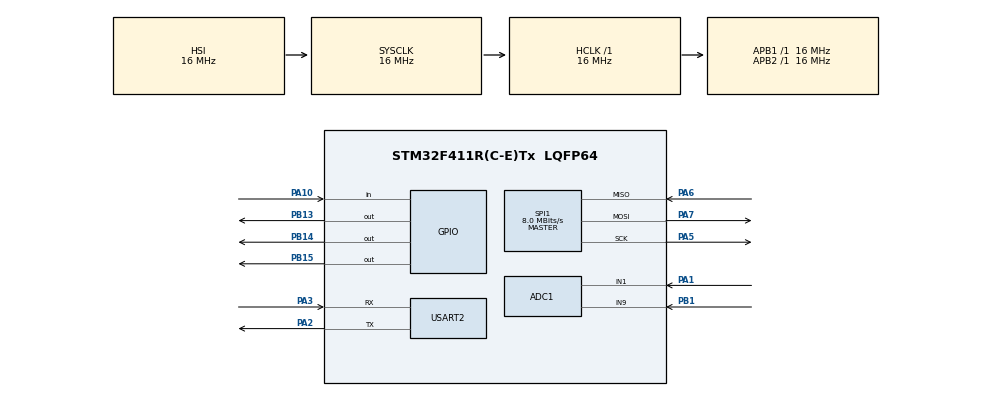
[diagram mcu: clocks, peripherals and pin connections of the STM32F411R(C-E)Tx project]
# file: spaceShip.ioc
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ADC1.Channel-0\#ChannelRegularConversion=ADC_CHANNEL_1
ADC1.NbrOfConversionFlag=1
ADC1.Rank-0\#ChannelRegularConversion=1
ADC1.SamplingTime-0\#ChannelRegularConversion=ADC_SAMPLETIME_3CYCLES
ADC1.master=1
Mcu.Family=STM32F4
Mcu.Name=STM32F411R(C-E)Tx
Mcu.Package=LQFP64
NVIC.PriorityGroup=NVIC_PRIORITYGROUP_4
PA1.Signal=ADCx_IN1
PA10.GPIO_PuPd=GPIO_PULLUP
PA10.Signal=GPIO_Input
PA2.Mode=Asynchronous
PA2.Signal=USART2_TX
PA3.Mode=Asynchronous
PA3.Signal=USART2_RX
PA5.Mode=Full_Duplex_Master
PA5.Signal=SPI1_SCK
PA6.Mode=Full_Duplex_Master
PA6.Signal=SPI1_MISO
PA7.Mode=Full_Duplex_Master
PA7.Signal=SPI1_MOSI
PB1.Signal=ADCx_IN9
PB13.Signal=GPIO_Output
PB14.Signal=GPIO_Output
PB15.Signal=GPIO_Output
ProjectManager.HeapSize=0x200
ProjectManager.StackSize=0x400
ProjectManager.TargetToolchain=STM32CubeIDE
RCC.AHBFreq_Value=16000000
RCC.APB1Freq_Value=16000000
RCC.APB2Freq_Value=16000000
RCC.CortexFreq_Value=16000000
RCC.HSE_VALUE=25000000
RCC.HSI_VALUE=16000000
RCC.LSE_VALUE=32768
RCC.SYSCLKFreq_VALUE=16000000
RCC.VCOOutputFreq_Value=192000000
SH.ADCx_IN1.0=ADC1_IN1,IN1
SH.ADCx_IN9.0=ADC1_IN9,IN9
SPI1.CalculateBaudRate=8.0 MBits/s
SPI1.Direction=SPI_DIRECTION_2LINES
SPI1.Mode=SPI_MODE_MASTER
SPI1.VirtualType=VM_MASTER
USART2.VirtualMode=VM_ASYNC
board=custom

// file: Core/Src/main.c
/* USER CODE BEGIN Header */
/**
  ******************************************************************************
  * @file           : main.c
  * @brief          : Main program body
  ******************************************************************************
  * @attention
  *
  * Copyright (c) 2026 STMicroelectronics.
  * All rights reserved.
  *
  * This software is licensed under terms that can be found in the LICENSE file
  * in the root directory of this software component.
  * If no LICENSE file comes with this software, it is provided AS-IS.
  *
  ******************************************************************************
  */
/* USER CODE END Header */
#include "main.h"
/* USER CODE BEGIN Includes */
#include <stdio.h>
#include <stdint.h>
#include <stdlib.h>
#include "fonts.h"
/* USER CODE END Includes */

/* USER CODE BEGIN PTD */
#define LCD_WIDTH   80
#define LCD_HEIGHT  260
#define X_OFFSET    1
#define Y_OFFSET    26

#define ST7735_CS_GPIO_Port  GPIOB
#define ST7735_CS_Pin        GPIO_PIN_14
#define ST7735_DC_GPIO_Port  GPIOB
#define ST7735_DC_Pin        GPIO_PIN_13
#define ST7735_RES_GPIO_Port GPIOB
#define ST7735_RES_Pin       GPIO_PIN_15
/* USER CODE END PTD */

ADC_HandleTypeDef hadc1;

SPI_HandleTypeDef hspi1;

UART_HandleTypeDef huart2;

void SystemClock_Config(void);
static void MX_GPIO_Init(void);
static void MX_ADC1_Init(void);
static void MX_SPI1_Init(void);
static void MX_USART2_UART_Init(void);
/* USER CODE BEGIN PFP */
struct Node {
    int x;
    int y;
    struct Node* next;
};
struct Node *starList = NULL;
int score = 0;
int Delay = 300;
uint8_t starsize = 5;
uint32_t adc_raw_val = 0;
float joystick_x = 0.0;
float alpha = 0.15;
int deadzone = 8;
void LCD_Init(void);
void Lcdclose(void);
void LcdOpen(void);
void LCD_DataMode(uint8_t pin);
void LCD_CommandMode(uint8_t data);
void freeLinkedList(struct Node* head);
void LCD_Fill(uint16_t color);
void LCD_SetAddressWindow(uint16_t x0, uint16_t y0, uint16_t x1, uint16_t y1);
void DrawPixel(uint16_t x, uint16_t y, uint16_t color);
void DrawChar(uint16_t x, uint16_t y, char ch, sFONT font, uint16_t color ,uint16_t bgcolor);
void DrawString(uint16_t x, uint16_t y,  char* str, sFONT font, uint16_t color,uint16_t bgcolor);
void LCD_courser(uint8_t x, uint8_t y, uint16_t color);
uint16_t GAMEON =0;
void movingStars(void);
void EraseArea(uint16_t x, uint16_t y);
struct Node* createStar( uint32_t startrandomX, uint32_t endrandomX);
void PrintStars(struct Node *head,uint8_t x, uint8_t y);
struct Node* moveStar(struct Node *head);

/* USER CODE END PFP */

int main(void)
{

  /* MCU Configuration--------------------------------------------------------*/

  /* Reset of all peripherals, Initializes the Flash interface and the Systick. */
  HAL_Init();

  /* Configure the system clock */
  SystemClock_Config();

  /* Initialize all configured peripherals */
  MX_GPIO_Init();
  MX_ADC1_Init();
  MX_SPI1_Init();
  LCD_Init();
  MX_USART2_UART_Init();
  LCD_Fill(0x0010);

  uint32_t x_raw = 2048;
  uint32_t y_raw = 2048;
  int old_x = 40;
  int old_y = 90;
  int x_center_offset = 2150;
   int y_center_offset = 1900;
   int deadzone =10;
   uint32_t lastGameUpdateTime = 0;

  /* Infinite loop */
  /* USER CODE BEGIN WHILE */
  while (1)
  {
	  char scoreBuf[10];
	 sprintf(scoreBuf, "%d", score);
	      uint32_t x_sum = 0, y_sum = 0;
	      int samples = 8;

	      for(int i = 0; i < samples; i++) {
	          HAL_ADC_Start(&hadc1);
	          HAL_ADC_PollForConversion(&hadc1, 5);
	          x_sum += HAL_ADC_GetValue(&hadc1);
	          HAL_ADC_PollForConversion(&hadc1, 5);
	          y_sum += HAL_ADC_GetValue(&hadc1);
	      }

	      x_raw = x_sum / samples;
	      y_raw = y_sum / samples;

	      int x_relative = (int)x_raw - x_center_offset;
	      int y_relative = (int)y_raw - y_center_offset;

	      if (abs(x_relative) < deadzone) x_relative = 0;
	      if (abs(y_relative) < deadzone) y_relative = 0;

	      int new_x = 70 + (x_relative * 70) / 2048;
	      int new_y = 70 + (y_relative * 70) / 2048;

	      if (new_x != old_x || new_y != old_y) {
	          LCD_courser(old_x, old_y, 0x0010);
	          LCD_courser(new_x, new_y, 0xFF00);
	          old_x = new_x;
	          old_y = new_y;
	      }

	      struct Node *head= moveStar(starList);
	      if (GAMEON == 0) {
	          DrawString(60, 5, "press C to start", Font12, 0xFFFF, 0x0010);
	      } else {

	    	  PrintStars(head,new_x, new_y);
	    	  score += 1;
	    	  DrawString(90, 35, scoreBuf, Font8, 0xFFFF, 0x0011);
	          if (HAL_GetTick() - lastGameUpdateTime >= Delay) {
	              Delay -= 1;
	              movingStars();
	              lastGameUpdateTime = HAL_GetTick();
	          }
	      }

	      if (GAMEON == 2) {
	     		  freeLinkedList(head);
	     		      starList = NULL;

	     		       Delay = 300;
	     		       GAMEON = 0;
	     		       LCD_Fill(0x0010);
	     		       DrawString(60, 5, "GAME OVER", Font12, 0xFFFF, 0x0010);
	     		       DrawString(50, 5, "score", Font12, 0xFFFF, 0x0010);
	     		       DrawString(50, 55, scoreBuf, Font12, 0xFFFF, 0x0011);
	     		       lastGameUpdateTime = HAL_GetTick();
	     		       score = 0;
	     		       HAL_Delay(700);
	     		       LCD_Fill(0x0010);
	     		      }

	      if(HAL_GPIO_ReadPin(GPIOA, GPIO_PIN_10) == GPIO_PIN_RESET) {
	          GAMEON = 1;
	          LCD_Fill(0x0010);
	          DrawString(90, 5, "score", Font8, 0xFFFF, 0x0010);
	          lastGameUpdateTime = HAL_GetTick();
	      }

  }
  /* USER CODE END 3 */
}

void SystemClock_Config(void)
{
  RCC_OscInitTypeDef RCC_OscInitStruct = {0};
  RCC_ClkInitTypeDef RCC_ClkInitStruct = {0};

  /** Configure the main internal regulator output voltage
  */
  __HAL_RCC_PWR_CLK_ENABLE();
  __HAL_PWR_VOLTAGESCALING_CONFIG(PWR_REGULATOR_VOLTAGE_SCALE1);

  /** Initializes the RCC Oscillators according to the specified parameters
  * in the RCC_OscInitTypeDef structure.
  */
  RCC_OscInitStruct.OscillatorType = RCC_OSCILLATORTYPE_HSI;
  RCC_OscInitStruct.HSIState = RCC_HSI_ON;
  RCC_OscInitStruct.HSICalibrationValue = RCC_HSICALIBRATION_DEFAULT;
  RCC_OscInitStruct.PLL.PLLState = RCC_PLL_NONE;
  if (HAL_RCC_OscConfig(&RCC_OscInitStruct) != HAL_OK)
  {
    Error_Handler();
  }

  /** Initializes the CPU, AHB and APB buses clocks
  */
  RCC_ClkInitStruct.ClockType = RCC_CLOCKTYPE_HCLK|RCC_CLOCKTYPE_SYSCLK
                              |RCC_CLOCKTYPE_PCLK1|RCC_CLOCKTYPE_PCLK2;
  RCC_ClkInitStruct.SYSCLKSource = RCC_SYSCLKSOURCE_HSI;
  RCC_ClkInitStruct.AHBCLKDivider = RCC_SYSCLK_DIV1;
  RCC_ClkInitStruct.APB1CLKDivider = RCC_HCLK_DIV1;
  RCC_ClkInitStruct.APB2CLKDivider = RCC_HCLK_DIV1;

  if (HAL_RCC_ClockConfig(&RCC_ClkInitStruct, FLASH_LATENCY_0) != HAL_OK)
  {
    Error_Handler();
  }
}

static void MX_ADC1_Init(void)
{

  ADC_ChannelConfTypeDef sConfig = {0};

  /** Configure the global features of the ADC (Clock, Resolution, Data Alignment and number of conversion)
  */
  hadc1.Instance = ADC1;
  hadc1.Init.ClockPrescaler = ADC_CLOCK_SYNC_PCLK_DIV2;
  hadc1.Init.Resolution = ADC_RESOLUTION_12B;
  hadc1.Init.ScanConvMode = ENABLE;
  hadc1.Init.ContinuousConvMode = DISABLE;
  hadc1.Init.DiscontinuousConvMode = DISABLE;
  hadc1.Init.ExternalTrigConvEdge = ADC_EXTERNALTRIGCONVEDGE_NONE;
  hadc1.Init.ExternalTrigConv = ADC_SOFTWARE_START;
  hadc1.Init.DataAlign = ADC_DATAALIGN_RIGHT;
  hadc1.Init.NbrOfConversion = 2;
  hadc1.Init.DMAContinuousRequests = DISABLE;
  hadc1.Init.EOCSelection = ADC_EOC_SINGLE_CONV;
  if (HAL_ADC_Init(&hadc1) != HAL_OK)
  {
    Error_Handler();
  }

  /** Configure for the selected ADC regular channel its corresponding rank in the sequencer and its sample time.
  */

    /** Configure for the first channel (X-axis on PA1)
    */
    sConfig.Channel = ADC_CHANNEL_1;
    sConfig.Rank = 1;
    sConfig.SamplingTime = ADC_SAMPLETIME_144CYCLES;
    if (HAL_ADC_ConfigChannel(&hadc1, &sConfig) != HAL_OK)
    {
      Error_Handler();
    }

    /** Configure for the second channel (Y-axis on PB1)
    */
    sConfig.Channel = ADC_CHANNEL_9;
    sConfig.Rank = 2;
    sConfig.SamplingTime = ADC_SAMPLETIME_144CYCLES;
    if (HAL_ADC_ConfigChannel(&hadc1, &sConfig) != HAL_OK)
    {
      Error_Handler();
    }

}

static void MX_SPI1_Init(void)
{

  /* SPI1 parameter configuration*/
  hspi1.Instance = SPI1;
  hspi1.Init.Mode = SPI_MODE_MASTER;
  hspi1.Init.Direction = SPI_DIRECTION_2LINES;
  hspi1.Init.DataSize = SPI_DATASIZE_8BIT;
  hspi1.Init.CLKPolarity = SPI_POLARITY_LOW;
  hspi1.Init.CLKPhase = SPI_PHASE_1EDGE;
  hspi1.Init.NSS = SPI_NSS_SOFT;
  hspi1.Init.BaudRatePrescaler = SPI_BAUDRATEPRESCALER_2;
  hspi1.Init.FirstBit = SPI_FIRSTBIT_MSB;
  hspi1.Init.TIMode = SPI_TIMODE_DISABLE;
  hspi1.Init.CRCCalculation = SPI_CRCCALCULATION_DISABLE;
  hspi1.Init.CRCPolynomial = 10;
  if (HAL_SPI_Init(&hspi1) != HAL_OK)
  {
    Error_Handler();
  }

}

static void MX_USART2_UART_Init(void)
{

  huart2.Instance = USART2;
  huart2.Init.BaudRate = 115200;
  huart2.Init.WordLength = UART_WORDLENGTH_8B;
  huart2.Init.StopBits = UART_STOPBITS_1;
  huart2.Init.Parity = UART_PARITY_NONE;
  huart2.Init.Mode = UART_MODE_TX_RX;
  huart2.Init.HwFlowCtl = UART_HWCONTROL_NONE;
  huart2.Init.OverSampling = UART_OVERSAMPLING_16;
  if (HAL_UART_Init(&huart2) != HAL_OK)
  {
    Error_Handler();
  }

}

static void MX_GPIO_Init(void)
{
  GPIO_InitTypeDef GPIO_InitStruct = {0};

  /* GPIO Ports Clock Enable */
  __HAL_RCC_GPIOA_CLK_ENABLE();
  __HAL_RCC_GPIOB_CLK_ENABLE();

  /*Configure GPIO pin Output Level */
  HAL_GPIO_WritePin(GPIOB, GPIO_PIN_13|GPIO_PIN_14|GPIO_PIN_15, GPIO_PIN_RESET);

  /*Configure GPIO pins : PB13 PB14 PB15 */
  GPIO_InitStruct.Pin = GPIO_PIN_13|GPIO_PIN_14|GPIO_PIN_15;
  GPIO_InitStruct.Mode = GPIO_MODE_OUTPUT_PP;
  GPIO_InitStruct.Pull = GPIO_NOPULL;
  GPIO_InitStruct.Speed = GPIO_SPEED_FREQ_LOW;
  HAL_GPIO_Init(GPIOB, &GPIO_InitStruct);

  /*Configure GPIO pin : PA10 */
  GPIO_InitStruct.Pin = GPIO_PIN_10;
  GPIO_InitStruct.Mode = GPIO_MODE_INPUT;
  GPIO_InitStruct.Pull = GPIO_PULLUP;
  HAL_GPIO_Init(GPIOA, &GPIO_InitStruct);

}

/* USER CODE BEGIN 4 */

#ifdef __GNUC__
  /* With GCC, small printf (option LD Linker->Libraries->Small printf
     set to 'Yes') calls __io_putchar() */
  #define PUTCHAR_PROTOTYPE int __io_putchar(int ch)
#else
  #define PUTCHAR_PROTOTYPE int fputc(int ch, FILE *f)
#endif /* __GNUC__ */

/**
  * @brief  Retargets the C library printf function to the USART.
  */
PUTCHAR_PROTOTYPE
{
  /* Place your implementation of fputc here */
  /* e.g. write a character to the USART2 and Loop until the end of transmission */
  HAL_UART_Transmit(&huart2, (uint8_t *)&ch, 1, 0xFFFF);

  return ch;
}

// Also add this for newer GCC versions to handle the full write stream
int _write(int file, char *ptr, int len)
{
  HAL_UART_Transmit(&huart2, (uint8_t *)ptr, len, 0xFFFF);
  return len;
}
void LcdOpen(void){
	HAL_GPIO_WritePin(GPIOB, GPIO_PIN_14, GPIO_PIN_RESET);
}
void Lcdclose(void){
	HAL_GPIO_WritePin(GPIOB, GPIO_PIN_14, GPIO_PIN_SET);
}

void LCD_Init(void) {//GEMINI
    HAL_GPIO_WritePin(GPIOB, GPIO_PIN_15, GPIO_PIN_RESET);
    HAL_Delay(50);
    HAL_GPIO_WritePin(GPIOB, GPIO_PIN_15, GPIO_PIN_SET);
    HAL_Delay(150);

    LCD_CommandMode(0x01); // Reset
    HAL_Delay(150);
    LCD_CommandMode(0x11); // Wake
    HAL_Delay(200);
    LCD_CommandMode(0x3A); // Color mode
    LCD_DataMode(0x05);    // 16-bit
    LCD_CommandMode(0x21);

    LCD_CommandMode(0x29); // On
    HAL_Delay(100);
}

void LCD_CommandMode(uint8_t data) {
    HAL_GPIO_WritePin(GPIOB, GPIO_PIN_13, GPIO_PIN_RESET);// command
    LcdOpen();
    HAL_SPI_Transmit(&hspi1, &data, 1, HAL_MAX_DELAY);
    Lcdclose();
}

void LCD_DataMode(uint8_t pin) {
   HAL_GPIO_WritePin(GPIOB, GPIO_PIN_13, GPIO_PIN_SET);//color
   LcdOpen();
   HAL_SPI_Transmit(&hspi1, &pin, 1, HAL_MAX_DELAY);
   Lcdclose();
}

void LCD_Fill(uint16_t color) {
    LCD_CommandMode(0x2A);
    LCD_DataMode(0x00); LCD_DataMode(0x00); LCD_DataMode(0x00); LCD_DataMode(0x7F);
    LCD_CommandMode(0x2B);
    LCD_DataMode(0x00); LCD_DataMode(0x00); LCD_DataMode(0x00); LCD_DataMode(0x9F);
    LCD_CommandMode(0x2C);

    uint8_t data[] = {color & 0xFF, color >> 8};
    HAL_GPIO_WritePin(GPIOB, GPIO_PIN_13, GPIO_PIN_SET);
    LcdOpen();
    for (uint32_t i = 0; i < (LCD_WIDTH * LCD_HEIGHT); i++) {
        HAL_SPI_Transmit(&hspi1, data, 2, HAL_MAX_DELAY);
    }
    Lcdclose();
}

void LCD_SetAddressWindow(uint16_t x0, uint16_t y0, uint16_t x1, uint16_t y1){
	 LCD_CommandMode(0x2A);
	 uint8_t dataX[] ={ 0x00, x0 + 1, 0x00, x1 + 1 };
	 for(int i=0; i<4; i++){

		 LCD_DataMode(dataX[i]);

	 }
	 LCD_CommandMode(0x2B);
	 uint8_t dataY[] ={ 0x00, y0 + 1, 0x00, y1 + 1 };
	 for(int i=0; i<4; i++){

		 LCD_DataMode(dataY[i]);

	 }
	 LCD_CommandMode(0x2C);
}

void DrawPixel(uint16_t x, uint16_t y, uint16_t color){
	   LCD_SetAddressWindow(x, y, x, y);
	   uint8_t data[] = {color & 0xFF, color >> 8};
	      LCD_DataMode(data[0]);
	      LCD_DataMode(data[1]);

}

void DrawChar(uint16_t x, uint16_t y, char ch, sFONT font, uint16_t color ,uint16_t bgcolor) {
    uint16_t bytesPerRow = (font.Width + 7) / 8;
    uint16_t JumpDistance = bytesPerRow * font.Height;
    uint32_t charLocation = (ch - 32) * JumpDistance;

    for(int i = 0; i < font.Height; i++) {
        for(int j = 0; j < font.Width; j++) {

            uint8_t byte = font.table[charLocation + (i * bytesPerRow) + (j / 8)];

            if (byte & (0x80 >> (j % 8))) {

                DrawPixel(x + (font.Height - 1 - i), y + j, color);
            } else{
            	DrawPixel(x + (font.Height - 1 - i), y + j, bgcolor);
            }
        }
    }
}

void DrawString(uint16_t x, uint16_t y, char* str, sFONT font, uint16_t color,uint16_t bgcolor) {

    while(*str) {
        DrawChar(x, y, *str, font, color,bgcolor);
        y += font.Width;
        str++;
    }
}

void movingStars(){

	if ((rand() % 10) == 0) {
	        struct Node *newStar = createStar(rand() % 85, 0);
	        if (newStar != NULL) {
	            newStar->next = starList;
	            starList = newStar;
	        }
	    }

	}

struct Node* createStar( uint32_t startrandomX, uint32_t endrandomX){

	 struct Node *newNode = (struct Node *)malloc(sizeof(struct Node));
	 if (newNode == NULL) return NULL;
			 newNode->y =0;
			 newNode->x =startrandomX;;
			 newNode->next = NULL;
			 return newNode;
}

struct Node* moveStar(struct Node *head){
	struct Node *temp = head;
	while (temp != NULL){
		temp->y += 5;
		temp = temp->next;
	}
	return head;

}

void PrintStars(struct Node *head,uint8_t x, uint8_t y){

	uint8_t data[] = { (uint8_t)(0xFFFF >> 8), (uint8_t)(0xFF & 0xFF) };
	struct Node *temp = head;

	while(temp != NULL){
        int offset = 4;
        if(temp->y == 250){temp->y=0;}
        if(temp->y == 0){temp->x=(rand() % 85);}
		EraseArea(temp->x, temp->y);
	    // Set Column Address
	    LCD_CommandMode(0x2A);
	    LCD_DataMode(0x00); LCD_DataMode(temp->x);
	    LCD_DataMode(0x00); LCD_DataMode((temp->x)+starsize-1);

	    // Set Row Address
	    LCD_CommandMode(0x2B);
	    LCD_DataMode(0x00); LCD_DataMode(temp->y);
	    LCD_DataMode(0x00); LCD_DataMode((temp->y)+starsize-1);

	    LCD_CommandMode(0x2C); // RAM Write

	    HAL_GPIO_WritePin(GPIOB, GPIO_PIN_13, GPIO_PIN_SET);
	    LcdOpen();
	    for(int i = 0; i < (starsize * starsize); i++) {
	        HAL_SPI_Transmit(&hspi1, data, 2, HAL_MAX_DELAY);
	    }
	    Lcdclose();
	    if (x < temp->x + starsize+offset &&
	                x + starsize+offset > temp->x &&
	                y < temp->y + starsize+offset &&
	                y + starsize+offset > temp->y) {

	                GAMEON = 2;
	                return;
	            }
	    temp = temp->next;
	}

}

void EraseArea(uint16_t x, uint16_t y){

	uint8_t data[] = { 0x10, 0x00 };
	// Set Column Address
	    LCD_CommandMode(0x2A);
	    LCD_DataMode(0x00); LCD_DataMode(x );
	    LCD_DataMode(0x00); LCD_DataMode((x + starsize - 1));

	    // Set Row Address
	    LCD_CommandMode(0x2B);
	    LCD_DataMode(0x00); LCD_DataMode(y-6);
	    LCD_DataMode(0x00); LCD_DataMode((y + starsize - 6) );

	    LCD_CommandMode(0x2C); // RAM Write

	    HAL_GPIO_WritePin(GPIOB, GPIO_PIN_13, GPIO_PIN_SET);
	    LcdOpen();
	    for(int i = 0; i < (starsize * starsize); i++) {
	        HAL_SPI_Transmit(&hspi1, data, 2, HAL_MAX_DELAY);
	    }
	    Lcdclose();

}

void LCD_courser(uint8_t x, uint8_t y, uint16_t color) {
    uint16_t size = starsize;
    uint8_t data[] = {color & 0xFF, color >> 8};

    if (x > 80 ) x = 80;
    if ( x < 30) x = 30;
    if (y > 250) y = 250;

    LCD_CommandMode(0x2A);
    LCD_DataMode(0x00); LCD_DataMode(x);
    LCD_DataMode(0x00); LCD_DataMode(x + size - 1);

    LCD_CommandMode(0x2B);
    LCD_DataMode(0x00); LCD_DataMode(y);
    LCD_DataMode(0x00); LCD_DataMode(y + size - 1);

    LCD_CommandMode(0x2C);

    HAL_GPIO_WritePin(GPIOB, GPIO_PIN_13, GPIO_PIN_SET);
    LcdOpen();
    for(int i = 0; i < (size * size); i++) {
        HAL_SPI_Transmit(&hspi1, data, 2, HAL_MAX_DELAY);
    }
    Lcdclose();
}

void freeLinkedList(struct Node* head) {
	struct Node* current = head;
	struct Node* nextNode = NULL;

    while (current != NULL) {
        nextNode = current->next;
        free(current);
        current = nextNode;
    }
}

/* USER CODE END 4 */

void Error_Handler(void)
{
  __disable_irq();
  while (1)
  {
  }
}
